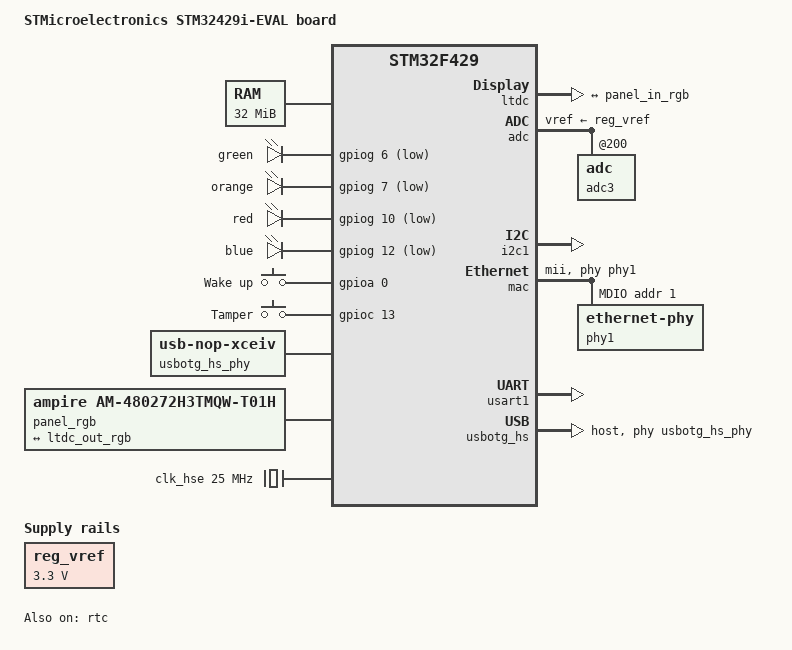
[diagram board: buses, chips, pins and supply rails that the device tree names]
/*
 * Copyright 2015 - Maxime Coquelin <mcoquelin.stm32@gmail.com>
 *
 * This file is dual-licensed: you can use it either under the terms
 * of the GPL or the X11 license, at your option. Note that this dual
 * licensing only applies to this file, and not this project as a
 * whole.
 *
 *  a) This file is free software; you can redistribute it and/or
 *     modify it under the terms of the GNU General Public License as
 *     published by the Free Software Foundation; either version 2 of the
 *     License, or (at your option) any later version.
 *
 *     This file is distributed in the hope that it will be useful,
 *     but WITHOUT ANY WARRANTY; without even the implied warranty of
 *     MERCHANTABILITY or FITNESS FOR A PARTICULAR PURPOSE.  See the
 *     GNU General Public License for more details.
 *
 *     You should have received a copy of the GNU General Public
 *     License along with this file; if not, write to the Free
 *     Software Foundation, Inc., 51 Franklin St, Fifth Floor, Boston,
 *     MA 02110-1301 USA
 *
 * Or, alternatively,
 *
 *  b) Permission is hereby granted, free of charge, to any person
 *     obtaining a copy of this software and associated documentation
 *     files (the "Software"), to deal in the Software without
 *     restriction, including without limitation the rights to use,
 *     copy, modify, merge, publish, distribute, sublicense, and/or
 *     sell copies of the Software, and to permit persons to whom the
 *     Software is furnished to do so, subject to the following
 *     conditions:
 *
 *     The above copyright notice and this permission notice shall be
 *     included in all copies or substantial portions of the Software.
 *
 *     THE SOFTWARE IS PROVIDED "AS IS", WITHOUT WARRANTY OF ANY KIND,
 *     EXPRESS OR IMPLIED, INCLUDING BUT NOT LIMITED TO THE WARRANTIES
 *     OF MERCHANTABILITY, FITNESS FOR A PARTICULAR PURPOSE AND
 *     NONINFRINGEMENT. IN NO EVENT SHALL THE AUTHORS OR COPYRIGHT
 *     HOLDERS BE LIABLE FOR ANY CLAIM, DAMAGES OR OTHER LIABILITY,
 *     WHETHER IN AN ACTION OF CONTRACT, TORT OR OTHERWISE, ARISING
 *     FROM, OUT OF OR IN CONNECTION WITH THE SOFTWARE OR THE USE OR
 *     OTHER DEALINGS IN THE SOFTWARE.
 */

/dts-v1/;
#include "stm32f429.dtsi"
#include <dt-bindings/input/input.h>

/ {
	model = "STMicroelectronics STM32429i-EVAL board";
	compatible = "st,stm32429i-eval", "st,stm32f429";

	chosen {
		bootargs = "root=/dev/ram rdinit=/linuxrc";
		stdout-path = "serial0:115200n8";
	};

	memory {
		reg = <0x00000000 0x2000000>;
	};

	aliases {
		serial0 = &usart1;
	};

	soc {
		dma-ranges = <0xc0000000 0x0 0x10000000>;
	};

	regulators {
		compatible = "simple-bus";
		#address-cells = <1>;
		#size-cells = <0>;

		reg_vref: regulator@0 {
			compatible = "regulator-fixed";
			reg = <0>;
			regulator-name = "vref";
			regulator-min-microvolt = <3300000>;
			regulator-max-microvolt = <3300000>;
		};
	};

	leds {
		compatible = "gpio-leds";
		green {
			gpios = <&gpiog 6 1>;
			linux,default-trigger = "heartbeat";
		};
		orange {
			gpios = <&gpiog 7 1>;
		};
		red {
			gpios = <&gpiog 10 1>;
		};
		blue {
			gpios = <&gpiog 12 1>;
		};
	};

	gpio_keys {
		compatible = "gpio-keys";
		#address-cells = <1>;
		#size-cells = <0>;
		autorepeat;
		button@0 {
			label = "Wake up";
			linux,code = <KEY_WAKEUP>;
			gpios = <&gpioa 0 0>;
		};
		button@1 {
			label = "Tamper";
			linux,code = <KEY_RESTART>;
			gpios = <&gpioc 13 0>;
		};
	};

	usbotg_hs_phy: usbphy {
		#phy-cells = <0>;
		compatible = "usb-nop-xceiv";
		clocks = <&rcc 0 STM32F4_AHB1_CLOCK(OTGHSULPI)>;
		clock-names = "main_clk";
	};

	panel_rgb: panel-rgb {
		compatible = "ampire,am-480272h3tmqw-t01h";
		status = "okay";
		port {
			panel_in_rgb: endpoint {
				remote-endpoint = <&ltdc_out_rgb>;
			};
		};
	};
};

&pinctrl {
	pinctrl_ltdc: ltdc@0 {
		pins {
			pinmux = <STM32F429_PI12_FUNC_LCD_HSYNC>,
				 <STM32F429_PI13_FUNC_LCD_VSYNC>,
				 <STM32F429_PI14_FUNC_LCD_CLK>,
				 <STM32F429_PI15_FUNC_LCD_R0>,
				 <STM32F429_PJ0_FUNC_LCD_R1>,
				 <STM32F429_PJ1_FUNC_LCD_R2>,
				 <STM32F429_PJ2_FUNC_LCD_R3>,
				 <STM32F429_PJ3_FUNC_LCD_R4>,
				 <STM32F429_PJ4_FUNC_LCD_R5>,
				 <STM32F429_PJ5_FUNC_LCD_R6>,
				 <STM32F429_PJ6_FUNC_LCD_R7>,
				 <STM32F429_PJ7_FUNC_LCD_G0>,
				 <STM32F429_PJ8_FUNC_LCD_G1>,
				 <STM32F429_PJ9_FUNC_LCD_G2>,
				 <STM32F429_PJ10_FUNC_LCD_G3>,
				 <STM32F429_PJ11_FUNC_LCD_G4>,
				 <STM32F429_PJ12_FUNC_LCD_B0>,
				 <STM32F429_PJ13_FUNC_LCD_B1>,
				 <STM32F429_PJ14_FUNC_LCD_B2>,
				 <STM32F429_PJ15_FUNC_LCD_B3>,
				 <STM32F429_PK0_FUNC_LCD_G5>,
				 <STM32F429_PK1_FUNC_LCD_G6>,
				 <STM32F429_PK2_FUNC_LCD_G7>,
				 <STM32F429_PK3_FUNC_LCD_B4>,
				 <STM32F429_PK4_FUNC_LCD_B5>,
				 <STM32F429_PK5_FUNC_LCD_B6>,
				 <STM32F429_PK6_FUNC_LCD_B7>,
				 <STM32F429_PK7_FUNC_LCD_DE>;
			slew-rate = <2>;
		};
	};
};

&ltdc {
	status = "okay";
	pinctrl-0 = <&pinctrl_ltdc>;
	pinctrl-names = "default";
	dma-ranges;

	port {
		ltdc_out_rgb: endpoint {
			remote-endpoint = <&panel_in_rgb>;
		};
	};
};

&adc {
	pinctrl-names = "default";
	pinctrl-0 = <&adc3_in8_pin>;
	vref-supply = <&reg_vref>;
	status = "okay";
	adc3: adc@200 {
		st,adc-channels = <8>;
		status = "okay";
	};
};

&clk_hse {
	clock-frequency = <25000000>;
};

&i2c1 {
	pinctrl-0 = <&i2c1_pins>;
	pinctrl-names = "default";
	status = "okay";
};

&mac {
	status = "okay";
	pinctrl-0	= <&ethernet_mii>;
	pinctrl-names	= "default";
	phy-mode	= "mii";
	phy-handle	= <&phy1>;
	mdio0 {
		#address-cells = <1>;
		#size-cells = <0>;
		compatible = "snps,dwmac-mdio";
		phy1: ethernet-phy@1 {
			reg = <1>;
		};
	};
};

&rtc {
	status = "okay";
};

&usart1 {
	pinctrl-0 = <&usart1_pins_a>;
	pinctrl-names = "default";
	status = "okay";
};

&usbotg_hs {
	dr_mode = "host";
	phys = <&usbotg_hs_phy>;
	phy-names = "usb2-phy";
	pinctrl-0 = <&usbotg_hs_pins_a>;
	pinctrl-names = "default";
	status = "okay";
};
